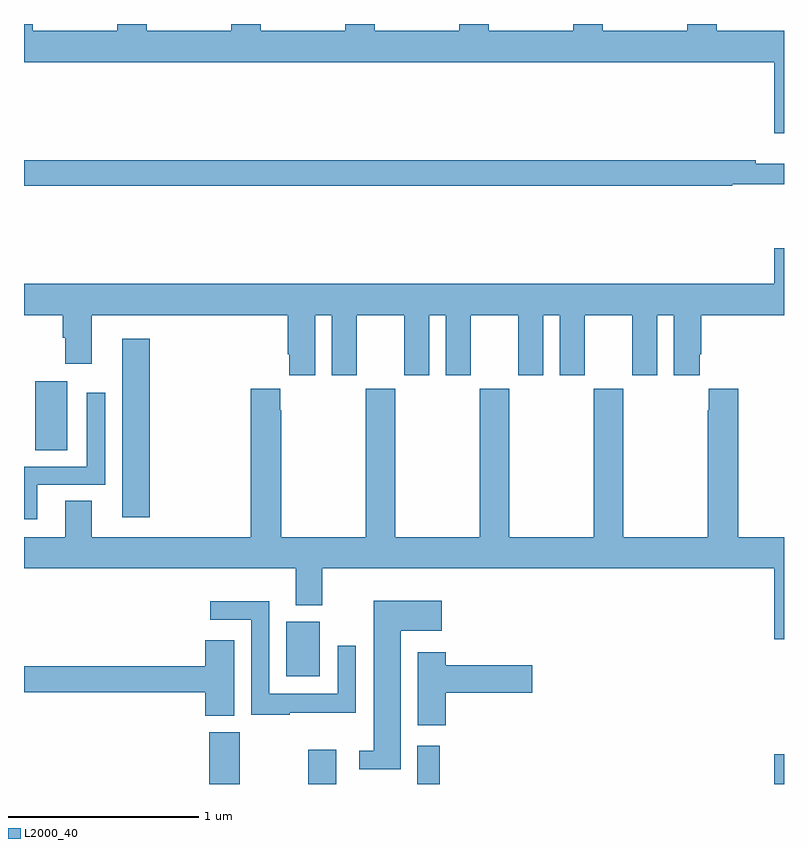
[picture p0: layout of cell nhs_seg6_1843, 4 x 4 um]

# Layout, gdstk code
import gdstk
lib = gdstk.Library(unit=1e-6, precision=1e-09)
def R(c, l, rs):  # rectangles x0, y0, x1, y1
    for r in rs: c.add(gdstk.rectangle(r[:2], r[2:], *l))
def P(c, l, *ps):  # polygons
    for p in ps: c.add(gdstk.Polygon(p, *l))
L2000_40 = (2000, 40)

nhs_seg6_1843 = lib.new_cell('nhs_seg6_1843')
R(nhs_seg6_1843, L2000_40, [(221.975,979.5,222.135,979.773), (222.496,979.5,222.643,979.681), (223.07,979.5,223.189,979.702), (224.948,979.5,225,979.657), (222.38,980.066,222.556,980.353), (221.516,980.904,221.663,981.844), (221.06,981.256,221.227,981.619)])
P(nhs_seg6_1843, L2000_40, [(225,983.464),(224.646,983.464),(224.646,983.5),(224.491,983.5),(224.491,983.464),(224.046,983.464),(224.046,983.5),(223.891,983.5),(223.891,983.464),(223.446,983.464),(223.446,983.5),(223.291,983.5),(223.291,983.464),(222.846,983.464),(222.846,983.5),(222.691,983.5),(222.691,983.464),(222.246,983.464),(222.246,983.5),(222.091,983.5),(222.091,983.464),(221.646,983.464),(221.646,983.5),(221.491,983.5),(221.491,983.464),(221.046,983.464),(221.046,983.5),(221,983.5),(221,983.3),(224.948,983.3),(224.948,982.926),(225,982.926)],
  [(224.728,982.656),(225,982.656),(225,982.765),(224.852,982.765),(224.852,982.784),(221,982.784),(221,982.648),(224.728,982.648)],
  [(222.532,981.968),(222.62,981.968),(222.62,981.651),(222.751,981.651),(222.751,981.968),(223.001,981.968),(223.001,981.651),(223.132,981.651),(223.132,981.968),(223.22,981.968),(223.22,981.651),(223.351,981.651),(223.351,981.968),(223.601,981.968),(223.601,981.651),(223.732,981.651),(223.732,981.968),(223.82,981.968),(223.82,981.651),(223.951,981.651),(223.951,981.968),(224.201,981.968),(224.201,981.651),(224.332,981.651),(224.332,981.968),(224.42,981.968),(224.42,981.651),(224.557,981.651),(224.557,981.763),(224.564,981.763),(224.564,981.968),(225,981.968),(225,982.321),(224.948,982.321),(224.948,982.132),(221,982.132),(221,981.968),(221.204,981.968),(221.204,981.848),(221.216,981.848),(221.216,981.711),(221.356,981.711),(221.356,981.968),(222.389,981.968),(222.389,981.763),(222.395,981.763),(222.395,981.651),(222.532,981.651)],
  [(225,980.8),(224.759,980.8),(224.759,981.58),(224.603,981.58),(224.603,981.467),(224.599,981.467),(224.599,980.8),(224.154,980.8),(224.154,981.58),(223.999,981.58),(223.999,980.8),(223.554,980.8),(223.554,981.58),(223.399,981.58),(223.399,980.8),(222.954,980.8),(222.954,981.58),(222.799,981.58),(222.799,980.8),(222.354,980.8),(222.354,981.467),(222.349,981.467),(222.349,981.58),(222.194,981.58),(222.194,980.8),(221.356,980.8),(221.356,980.99),(221.216,980.99),(221.216,980.8),(221,980.8),(221,980.636),(222.431,980.636),(222.431,980.442),(222.571,980.442),(222.571,980.636),(224.948,980.636),(224.948,980.262),(225,980.262)],
  [(221.071,981.075),(221.427,981.075),(221.427,981.559),(221.331,981.559),(221.331,981.171),(221,981.171),(221,980.894),(221.071,980.894)],
  [(222.982,980.306),(223.198,980.306),(223.198,980.464),(222.842,980.464),(222.842,979.676),(222.765,979.676),(222.765,979.578),(222.982,979.578)],
  [(222.398,979.874),(222.747,979.874),(222.747,980.227),(222.651,980.227),(222.651,979.975),(222.291,979.975),(222.291,980.461),(221.979,980.461),(221.979,980.364),(222.195,980.364),(222.195,979.864),(222.398,979.864)],
  [(222.106,980.257),(221.954,980.257),(221.954,980.12),(221,980.12),(221,979.984),(221.954,979.984),(221.954,979.858),(222.106,979.858)],
  [(223.22,979.979),(223.675,979.979),(223.675,980.126),(223.22,980.126),(223.22,980.194),(223.073,980.194),(223.073,979.809),(223.22,979.809)])

lib.write_gds('nhs_seg6_1843.gds')
